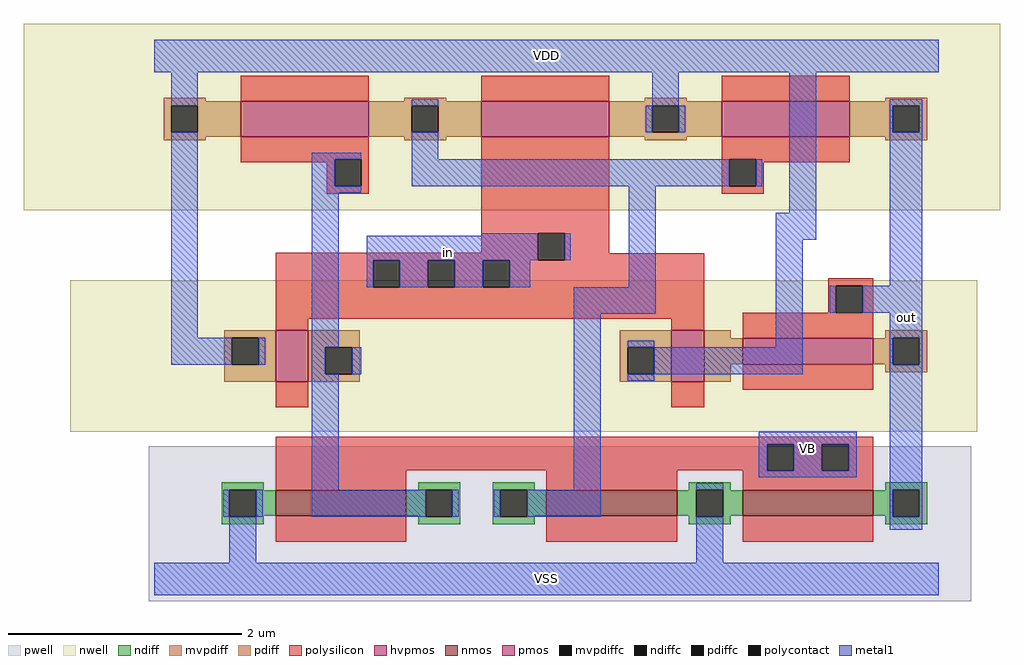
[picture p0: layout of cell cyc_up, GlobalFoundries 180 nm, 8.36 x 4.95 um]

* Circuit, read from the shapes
.subckt cyc_up VSS VDD out in VB
XM1 n1 VB VSS VSUBS nfet_03v3 w=0.22u l=1.12u
XM2 VSS VB n2 VSUBS nfet_03v3 w=0.22u l=1.12u
XM3 out VB VSS VSUBS nfet_03v3 w=0.22u l=1.12u
XM4 n2 n1 VDD n3 pfet_06v0 w=0.3u l=1.1u
XM5 n1 in VDD n4 pfet_03v3 w=0.44u l=0.28u
XM6 VDD in n2 n3 pfet_06v0 w=0.3u l=1.1u
XM7 n5 in VDD n4 pfet_03v3 w=0.44u l=0.28u
XM8 out n2 VDD n3 pfet_06v0 w=0.3u l=1.1u
XM9 out out n5 n4 pfet_03v3 w=0.22u l=1.12u
.ends

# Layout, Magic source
magic
tech gf180mcuD
magscale 1 10
<< nwell >>
rect -223 632 1449 951
rect -144 252 1410 512
<< pwell >>
rect -9 -38 1400 227
<< nmos >>
rect 208 108 432 152
rect 672 108 896 152
rect 1008 108 1232 152
<< pmos >>
rect 208 338 264 426
rect 886 338 942 426
rect 1008 368 1232 412
<< hvpmos >>
rect 148 758 368 818
rect 560 758 780 818
rect 972 758 1192 818
<< ndiff >>
rect 116 153 188 166
rect 116 107 129 153
rect 175 152 188 153
rect 452 153 524 166
rect 452 152 465 153
rect 175 108 208 152
rect 432 108 465 152
rect 175 107 188 108
rect 116 94 188 107
rect 452 107 465 108
rect 511 107 524 153
rect 452 94 524 107
rect 580 153 652 166
rect 580 107 593 153
rect 639 152 652 153
rect 916 153 988 166
rect 916 152 929 153
rect 639 108 672 152
rect 896 108 929 152
rect 639 107 652 108
rect 580 94 652 107
rect 916 107 929 108
rect 975 152 988 153
rect 1252 153 1324 166
rect 1252 152 1265 153
rect 975 108 1008 152
rect 1232 108 1265 152
rect 975 107 988 108
rect 916 94 988 107
rect 1252 107 1265 108
rect 1311 107 1324 153
rect 1252 94 1324 107
<< pdiff >>
rect 120 413 208 426
rect 120 367 133 413
rect 179 367 208 413
rect 120 338 208 367
rect 264 397 352 426
rect 264 351 293 397
rect 339 351 352 397
rect 264 338 352 351
rect 798 397 886 426
rect 798 351 811 397
rect 857 351 886 397
rect 798 338 886 351
rect 942 412 988 426
rect 1252 413 1324 426
rect 1252 412 1265 413
rect 942 368 1008 412
rect 1232 368 1265 412
rect 942 338 988 368
rect 1252 367 1265 368
rect 1311 367 1324 413
rect 1252 354 1324 367
<< mvpdiff >>
rect 16 818 88 824
rect 428 818 500 824
rect 840 818 912 824
rect 1252 818 1324 824
rect 16 811 148 818
rect 16 765 29 811
rect 75 765 148 811
rect 16 758 148 765
rect 368 811 560 818
rect 368 765 441 811
rect 487 765 560 811
rect 368 758 560 765
rect 780 811 972 818
rect 780 765 853 811
rect 899 765 972 811
rect 780 758 972 765
rect 1192 811 1324 818
rect 1192 765 1265 811
rect 1311 765 1324 811
rect 1192 758 1324 765
rect 16 752 88 758
rect 428 752 500 758
rect 840 752 912 758
rect 1252 752 1324 758
<< ndiffc >>
rect 129 107 175 153
rect 465 107 511 153
rect 593 107 639 153
rect 929 107 975 153
rect 1265 107 1311 153
<< pdiffc >>
rect 133 367 179 413
rect 293 351 339 397
rect 811 351 857 397
rect 1265 367 1311 413
<< mvpdiffc >>
rect 29 765 75 811
rect 441 765 487 811
rect 853 765 899 811
rect 1265 765 1311 811
<< polysilicon >>
rect 148 818 368 862
rect 560 818 780 862
rect 972 818 1192 862
rect 148 719 368 758
rect 148 714 309 719
rect 296 673 309 714
rect 355 673 368 719
rect 296 660 368 673
rect 560 592 780 758
rect 972 719 1192 758
rect 972 673 985 719
rect 1031 714 1192 719
rect 1031 673 1044 714
rect 972 660 1044 673
rect 560 559 657 592
rect 208 546 657 559
rect 703 558 780 592
rect 703 546 942 558
rect 208 500 375 546
rect 421 500 469 546
rect 515 500 563 546
rect 609 500 942 546
rect 208 446 942 500
rect 1155 502 1232 515
rect 1155 456 1168 502
rect 1214 456 1232 502
rect 208 426 264 446
rect 886 426 942 446
rect 1008 412 1232 456
rect 208 294 264 338
rect 886 294 942 338
rect 1008 324 1232 368
rect 208 231 1232 244
rect 208 186 1050 231
rect 208 152 432 186
rect 208 64 432 108
rect 672 152 896 186
rect 1008 185 1050 186
rect 1096 185 1144 231
rect 1190 185 1232 231
rect 672 64 896 108
rect 1008 152 1232 185
rect 1008 64 1232 108
<< polycontact >>
rect 309 673 355 719
rect 985 673 1031 719
rect 657 546 703 592
rect 375 500 421 546
rect 469 500 515 546
rect 563 500 609 546
rect 1168 456 1214 502
rect 1050 185 1096 231
rect 1144 185 1190 231
<< metal1 >>
rect 0 868 1344 924
rect 29 811 75 868
rect 29 413 75 765
rect 441 811 487 822
rect 853 811 899 868
rect 842 765 853 811
rect 899 765 910 811
rect 270 719 355 730
rect 270 673 309 719
rect 441 719 487 765
rect 441 673 985 719
rect 1031 673 1042 719
rect 270 662 355 673
rect 29 367 133 413
rect 179 367 190 413
rect 270 397 316 662
rect 560 588 657 592
rect 364 546 657 588
rect 703 546 714 592
rect 364 500 375 546
rect 421 500 469 546
rect 515 500 563 546
rect 609 500 644 546
rect 813 500 859 673
rect 1088 627 1134 868
rect 719 454 859 500
rect 1065 581 1134 627
rect 1260 811 1316 822
rect 1260 765 1265 811
rect 1311 765 1316 811
rect 270 351 293 397
rect 339 351 355 397
rect 270 153 316 351
rect 719 153 765 454
rect 811 397 857 408
rect 1065 397 1111 581
rect 1260 502 1316 765
rect 1157 456 1168 502
rect 1214 456 1316 502
rect 857 351 1111 397
rect 1260 413 1316 456
rect 1260 367 1265 413
rect 1311 367 1316 413
rect 811 340 857 351
rect 1036 231 1204 252
rect 1036 185 1050 231
rect 1096 185 1144 231
rect 1190 185 1204 231
rect 1036 174 1204 185
rect 118 107 129 153
rect 175 107 186 153
rect 270 107 465 153
rect 511 107 522 153
rect 582 107 593 153
rect 639 107 765 153
rect 929 153 975 164
rect 129 28 175 107
rect 929 28 975 107
rect 1260 153 1316 367
rect 1260 107 1265 153
rect 1311 107 1316 153
rect 1260 84 1316 107
rect 0 -28 1344 28
<< labels >>
rlabel metal1 0 -28 1344 28 0 VSS
port 1 nsew ground bidirectional
rlabel metal1 0 868 1344 924 0 VDD
port 2 nsew power bidirectional
rlabel metal1 1260 84 1316 812 0 out
port 3 nsew signal output
rlabel metal1 364 532 644 588 0 in
port 5 nsew signal input
rlabel metal1 1036 196 1204 252 0 VB
port 6 nsew signal input
<< properties >>
string FIXED_BBOX 0 0 1344 896
string fixed_BBOX 0 0 1344 896
string LEFclass core
string LEFsite site056um
<< end >>
